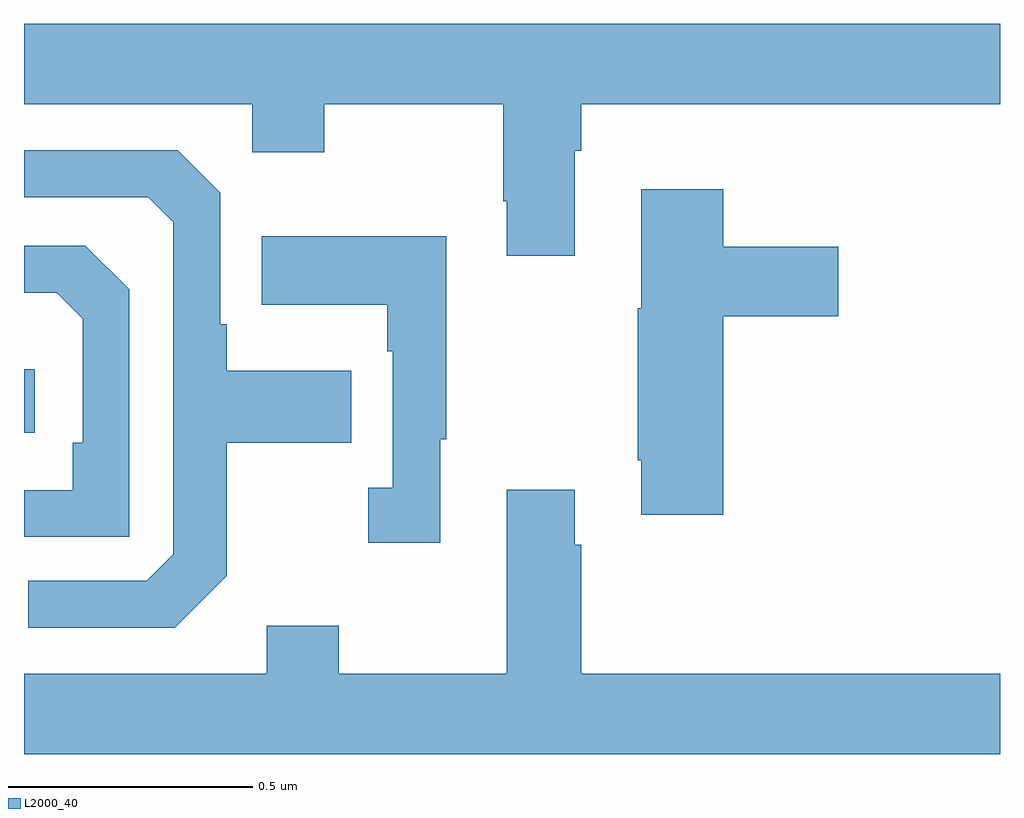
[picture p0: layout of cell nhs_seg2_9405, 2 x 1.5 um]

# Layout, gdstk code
import gdstk
lib = gdstk.Library(unit=1e-6, precision=1e-09)
def R(c, l, rs):  # rectangles x0, y0, x1, y1
    for r in rs: c.add(gdstk.rectangle(r[:2], r[2:], *l))
def P(c, l, *ps):  # polygons
    for p in ps: c.add(gdstk.Polygon(p, *l))
L2000_40 = (2000, 40)

nhs_seg2_9405 = lib.new_cell('nhs_seg2_9405')
R(nhs_seg2_9405, L2000_40, [(228,653.622,228.022,653.752)])
P(nhs_seg2_9405, L2000_40, [(229.129,654.2),(229.142,654.2),(229.142,654.296),(230,654.296),(230,654.46),(228,654.46),(228,654.296),(228.468,654.296),(228.468,654.197),(228.615,654.197),(228.615,654.296),(228.982,654.296),(228.982,654.097),(228.989,654.097),(228.989,653.985),(229.129,653.985)],
  [(228.415,653.329),(228.415,653.602),(228.671,653.602),(228.671,653.749),(228.415,653.749),(228.415,653.845),(228.402,653.845),(228.402,654.114),(228.315,654.201),(228,654.201),(228,654.105),(228.255,654.105),(228.306,654.054),(228.306,653.373),(228.252,653.319),(228.009,653.319),(228.009,653.223),(228.309,653.223)],
  [(229.433,653.861),(229.669,653.861),(229.669,654.003),(229.433,654.003),(229.433,654.121),(229.265,654.121),(229.265,653.877),(229.258,653.877),(229.258,653.566),(229.265,653.566),(229.265,653.454),(229.433,653.454)],
  [(228.853,653.609),(228.865,653.609),(228.865,654.025),(228.487,654.025),(228.487,653.885),(228.744,653.885),(228.744,653.789),(228.756,653.789),(228.756,653.51),(228.705,653.51),(228.705,653.397),(228.853,653.397)],
  [(228.216,653.916),(228.126,654.006),(228,654.006),(228,653.909),(228.067,653.909),(228.12,653.856),(228.12,653.602),(228.1,653.602),(228.1,653.505),(228,653.505),(228,653.409),(228.216,653.409)],
  [(230,653.128),(229.142,653.128),(229.142,653.393),(229.129,653.393),(229.129,653.506),(228.989,653.506),(228.989,653.128),(228.645,653.128),(228.645,653.227),(228.497,653.227),(228.497,653.128),(228,653.128),(228,652.964),(230,652.964)])

lib.write_gds('nhs_seg2_9405.gds')
